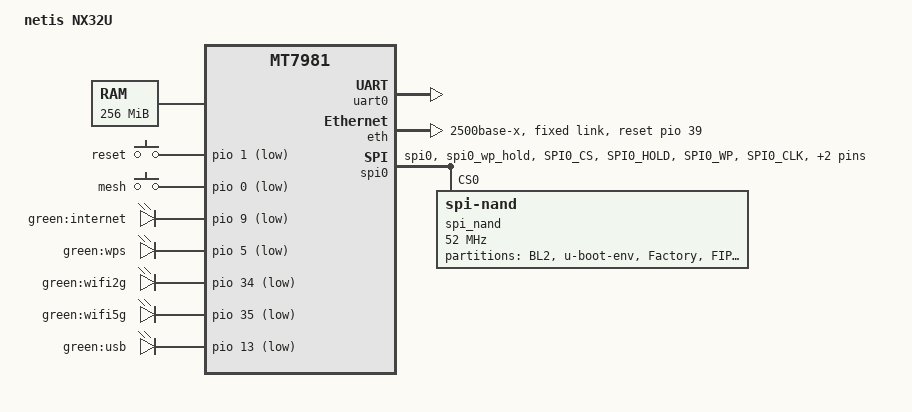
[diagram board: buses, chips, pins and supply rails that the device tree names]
// SPDX-License-Identifier: GPL-2.0
/*
 * Copyright (c) 2026
 * Author: Fil Dunsky <filipp.dunsky@gmail.com>
 */

/dts-v1/;
#include "mt7981.dtsi"
#include <dt-bindings/gpio/gpio.h>
#include <dt-bindings/input/linux-event-codes.h>

/ {
	#address-cells = <1>;
	#size-cells = <1>;
	model = "netis NX32U";
	compatible = "netis,nx32u", "mediatek,mt7981";

	chosen {
		stdout-path = &uart0;
		tick-timer = &timer0;
	};

	memory@40000000 {
		device_type = "memory";
		reg = <0x40000000 0x10000000>;
	};

	keys {
		compatible = "gpio-keys";

		button-reset {
			label = "reset";
			linux,code = <KEY_RESTART>;
			gpios = <&pio 1 GPIO_ACTIVE_LOW>;
		};

		button-mesh {
			label = "mesh";
			linux,code = <BTN_0>;
			gpios = <&pio 0 GPIO_ACTIVE_LOW>;
		};
	};

	gpio-leds {
		compatible = "gpio-leds";

		led_internet {
			label = "green:internet";
			gpios = <&pio 9 GPIO_ACTIVE_LOW>;
		};

		led_wps {
			label = "green:wps";
			gpios = <&pio 5 GPIO_ACTIVE_LOW>;
		};

		led_wifi2g {
			label = "green:wifi2g";
			gpios = <&pio 34 GPIO_ACTIVE_LOW>;
		};

		led_wifi5g {
			label = "green:wifi5g";
			gpios = <&pio 35 GPIO_ACTIVE_LOW>;
		};

		led_usb {
			label = "green:usb";
			gpios = <&pio 13 GPIO_ACTIVE_LOW>;
		};
	};
};

&uart0 {
	mediatek,force-highspeed;
	status = "okay";
};

&eth {
	status = "okay";
	mediatek,gmac-id = <0>;
	phy-mode = "2500base-x";
	mediatek,switch = "mt7531";
	reset-gpios = <&pio 39 GPIO_ACTIVE_HIGH>;

	fixed-link {
		speed = <2500>;
		full-duplex;
	};
};

&pio {
	spi_flash_pins: spi0-pins-func-1 {
		mux {
			function = "flash";
			groups = "spi0", "spi0_wp_hold";
		};

		conf-pu {
			pins = "SPI0_CS", "SPI0_HOLD", "SPI0_WP";
			drive-strength = <MTK_DRIVE_8mA>;
			bias-pull-up = <MTK_PUPD_SET_R1R0_11>;
		};

		conf-pd {
			pins = "SPI0_CLK", "SPI0_MOSI", "SPI0_MISO";
			drive-strength = <MTK_DRIVE_8mA>;
			bias-pull-down = <MTK_PUPD_SET_R1R0_11>;
		};
	};
};

&spi0 {
	#address-cells = <1>;
	#size-cells = <0>;
	pinctrl-names = "default";
	pinctrl-0 = <&spi_flash_pins>;
	status = "okay";
	must_tx;
	enhance_timing;
	dma_ext;
	ipm_design;
	support_quad;
	tick_dly = <2>;
	sample_sel = <0>;

	spi_nand@0 {
		compatible = "spi-nand";
		reg = <0>;
		spi-max-frequency = <52000000>;

		partitions {
			compatible = "fixed-partitions";
			#address-cells = <1>;
			#size-cells = <1>;

			partition@0 {
				label = "BL2";
				reg = <0x0 0x100000>;
			};

			partition@100000 {
				label = "u-boot-env";
				reg = <0x100000 0x80000>;
			};

			partition@160000 {
				label = "Factory";
				reg = <0x180000 0x200000>;
			};

			partition@380000 {
				label = "FIP";
				reg = <0x380000 0x200000>;
			};

			partition@580000 {
				label = "ubi";
				reg = <0x580000 0x7a80000>;
			};
		};
	};
};

&watchdog {
	status = "disabled";
};
